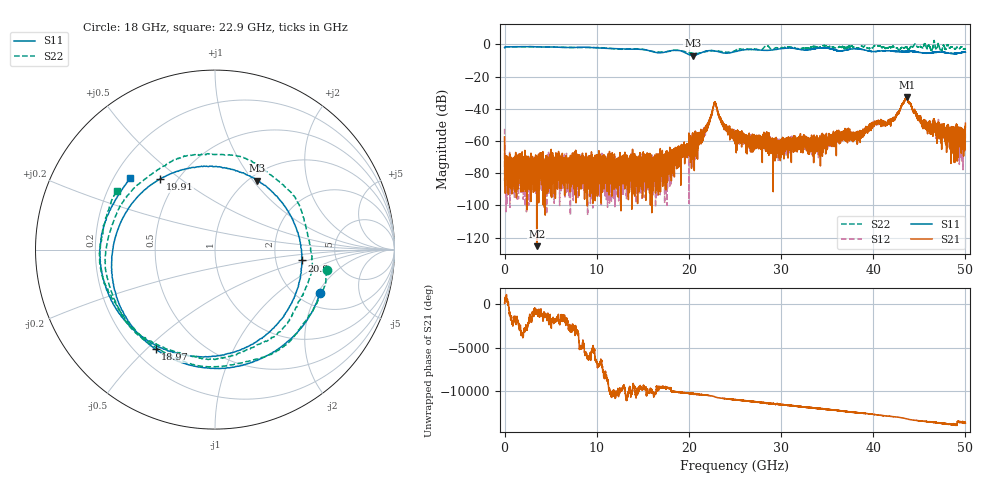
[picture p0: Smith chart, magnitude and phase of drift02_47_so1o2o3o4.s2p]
!Created with skrf (http://scikit-rf.org).
# Hz S RI R 50.0
!freq ReS11 ImS11 ReS21 ImS21 ReS12 ImS12 ReS22 ImS22
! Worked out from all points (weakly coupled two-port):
!   10001 points, 300 kHz to 50 GHz, reference 50 ohm
!   highest |S21| = -32.91 dB at 43.64 GHz (marker M1); lowest = -125.3 dB at 3.485 GHz (marker M2)
!   lowest |S11| = -6.9 dB at 20.41 GHz (marker M3), VSWR 2.64, Z = 54.4 + j52.4 ohm
!   |S11| at or under -10 dB: nowhere
!   |S22| runs from -5.7 to 2.5 dB; largest |S21 - S12| = 0.0045
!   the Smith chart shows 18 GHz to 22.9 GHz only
!   S11 on the Smith chart (normalised r, x): 18 GHz: 2.63, -2.10; 18.97 GHz: 0.28, -0.53; 19.91 GHz: 0.40, +0.42; 20.9 GHz: 2.83, -0.45; 22.9 GHz: 0.27, +0.34
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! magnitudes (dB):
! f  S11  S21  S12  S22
! 300 kHz  -2.1  -57.5  -52.4  -2.1
! 285.3 MHz  -1.4  -78.4  -79.3  -1.4
! 3.485 GHz  -1.5  -125.3  -78.2  -1.5
! 8.335 GHz  -1.7  -73.7  -78.6  -1.9
! 16.67 GHz  -5.2  -69.0  -75.2  -4.7
! 18 GHz  -4.0  -67.5  -71.5  -4.0
! 18.97 GHz  -3.8  -70.1  -65.7  -3.9
! 19.91 GHz  -6.0  -67.5  -64.2  -5.2
! 20.41 GHz  -6.9  -59.9  -64.7  -5.4
! 20.9 GHz  -6.2  -64.0  -57.4  -5.6
! 22.9 GHz  -4.2  -36.6  -36.6  -3.9
! 23.8 GHz  -5.3  -51.4  -51.0  -4.6
! 25 GHz  -4.5  -57.5  -60.9  -3.9
! 29.78 GHz  -2.8  -66.5  -62.9  -2.0
! 33.34 GHz  -3.0  -60.9  -61.7  -1.5
! 38.38 GHz  -2.8  -54.8  -57.6  -2.1
! 41.67 GHz  -3.9  -49.0  -48.4  -1.9
! 43.64 GHz  -4.4  -32.9  -33.2  -1.8
! 45.88 GHz  -5.4  -51.3  -49.8  -2.3
! 48.59 GHz  -5.6  -57.1  -56.2  -1.5
! 49.72 GHz  -4.9  -53.3  -66.2  -2.2
! 50 GHz  -4.7  -49.0  -60.8  -2.6
